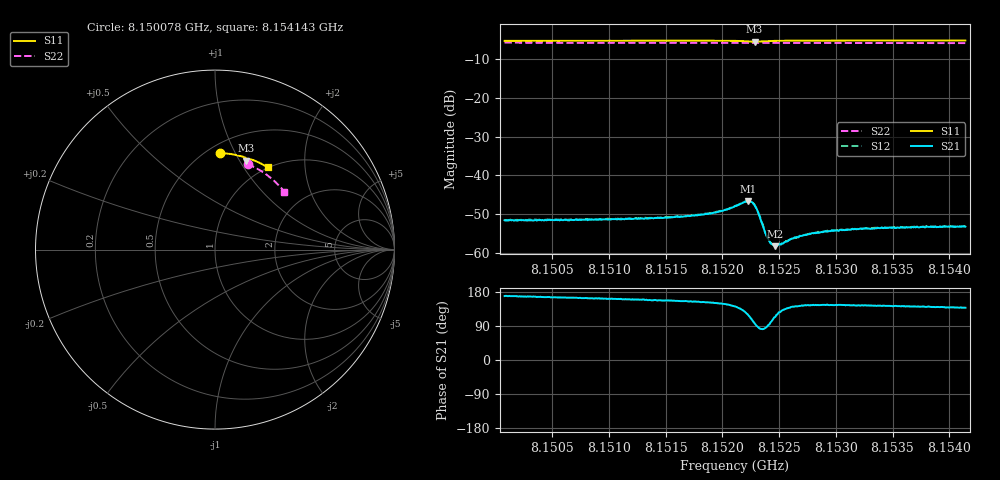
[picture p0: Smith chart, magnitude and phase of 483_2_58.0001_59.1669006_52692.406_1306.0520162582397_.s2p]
#  HZ  S  RI  R  50.00
! Rohde & Schwarz Vector Network Analyzer
! Rohde-Schwarz,ZNB20-2Port,1311601062101988,3.16
! Created: UTC 3/21/2024, 1:11:57 AM
! freq[Hz]  re:S11  im:S11  re:S21  im:S21  re:S12  im:S12  re:S22  im:S22
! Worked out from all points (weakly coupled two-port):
!   401 points, 8.150078 GHz to 8.154143 GHz, reference 50 ohm
!   highest |S21| = -46.64 dB at 8.152222 GHz (marker M1); lowest = -58.2 dB at 8.152466 GHz (marker M2)
!   lowest |S11| = -5.6 dB at 8.152283 GHz (marker M3), VSWR 3.21, Z = 38.9 + j53.3 ohm
!   |S11| at or under -10 dB: nowhere
!   |S22| runs from -6.0 to -5.9 dB; largest |S21 - S12| = 0.00013
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8.1500779e9  0.0288 0.5374  -0.0026 0.000516  -0.0026 0.000566  0.1813 0.4766
8.1507588e9  0.0761 0.5341  -0.00257 0.000785  -0.00257 0.000811  0.2211 0.4583
8.1514397e9  0.1234 0.5261  -0.00262 0.00108  -0.00261 0.00111  0.2589 0.437
8.151704e9  0.1419 0.5216  -0.00271 0.0013  -0.00269 0.00131  0.2729 0.4278
8.1518869e9  0.1551 0.5177  -0.00285 0.00153  -0.00288 0.0016  0.2827 0.4209
8.1520393e9  0.1667 0.5131  -0.00304 0.00199  -0.00302 0.00207  0.2905 0.4153
8.1521105e9  0.1723 0.5096  -0.00315 0.00251  -0.0031 0.00254  0.2942 0.4126
8.1522223e9  0.1776 0.4995  -0.00235 0.00402  -0.00229 0.00411  0.2996 0.4079
8.1522528e9  0.1758 0.4966  -0.00149 0.00432  -0.00145 0.00438  0.3009 0.4067
8.1522832e9  0.1728 0.496  -0.000461 0.00411  -0.000453 0.00417  0.3023 0.4055
8.1523137e9  0.1709 0.4984  0.000184 0.00336  0.000259 0.00336  0.3037 0.4045
8.1523747e9  0.1733 0.504  0.000192 0.00185  0.000238 0.00189  0.3068 0.4024
8.1524052e9  0.1762 0.5056  -5.82e-05 0.00151  4.95e-06 0.00148  0.3083 0.4013
8.1524357e9  0.1794 0.5062  -0.000298 0.00127  -0.000289 0.00128  0.3098 0.4002
8.1524662e9  0.1822 0.5064  -0.000496 0.00112  -0.00052 0.00114  0.3116 0.3988
8.1525272e9  0.1876 0.506  -0.000875 0.000999  -0.000872 0.00103  0.3145 0.3964
8.1526288e9  0.196 0.5042  -0.00121 0.000994  -0.00118 0.00101  0.3196 0.3923
8.1526999e9  0.2013 0.5027  -0.00135 0.000984  -0.00135 0.000999  0.3231 0.3893
8.1527914e9  0.2076 0.5005  -0.00148 0.00104  -0.00141 0.00108  0.3273 0.3854
8.1531064e9  0.2289 0.4921  -0.00162 0.00115  -0.00165 0.00117  0.3421 0.372
8.1534723e9  0.2522 0.4811  -0.0017 0.0013  -0.00164 0.00132  0.3582 0.3554
8.1541431e9  0.2931 0.4589  -0.00162 0.00147  -0.00167 0.00151  0.3857 0.3236
